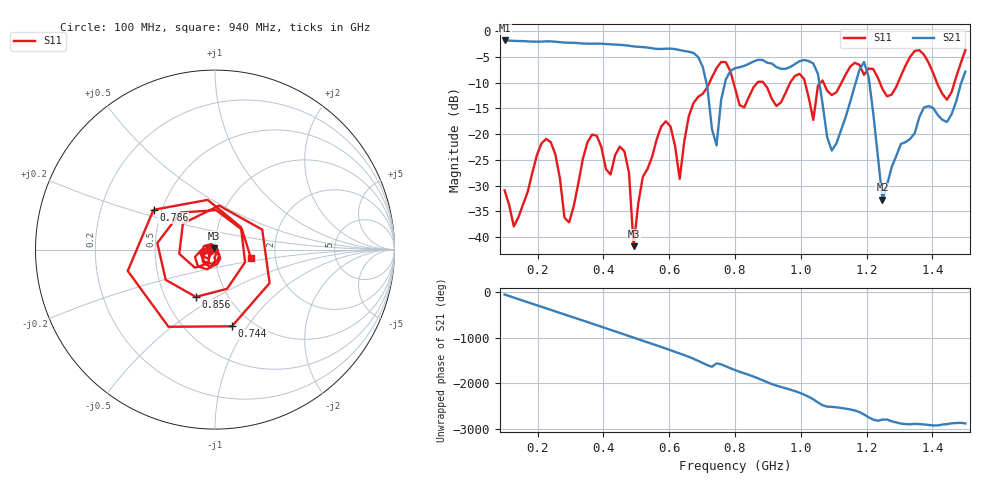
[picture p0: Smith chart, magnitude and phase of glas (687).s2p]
! NanoVNA-App
! Date: 2025-09-25 16:00:49
! Start: 100MHz Stop: 1,5GHz Points: 101
! S-Parameter data: F S11 S21 S12 S22
# Hz S RI R 50
!  Frequency  S11_Real  S11_Imag  S21_Real  S21_Imag  S12_Real  S12_Imag  S22_Real  S22_Imag
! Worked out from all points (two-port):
!   101 points, 100 MHz to 1.5 GHz, reference 50 ohm
!   highest |S21| = -1.80 dB at 100 MHz (marker M1); lowest = -32.7 dB at 1.248 GHz (marker M2)
!   |S21| within 3 dB of the highest: start of sweep to 684.3 MHz
!   lowest |S11| = -41.8 dB at 492 MHz (marker M3), VSWR 1.02, Z = 49.5 + j0.623 ohm
!   |S11| at or under -10 dB: start of sweep to 722.4 MHz; 795.5 MHz to 867.9 MHz (72.38 MHz wide, 8.7 % of centre); 886.3 MHz to 967.7 MHz (81.39 MHz wide, 8.78 % of centre) (the widest 3 of 7)
!   S12 and S22 are empty: the file has one direction only
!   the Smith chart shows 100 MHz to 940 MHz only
!   S11 on the Smith chart (normalised r, x): 100 MHz: 0.95, -0.01; 744 MHz: 0.81, -0.85; 786 MHz: 0.45, +0.24; 856 MHz: 0.71, -0.41; 940 MHz: 1.49, -0.14
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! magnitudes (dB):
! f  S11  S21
! 100 MHz  -30.9  -1.8
! 128 MHz  -37.9  -1.9
! 226 MHz  -20.9  -2.0
! 296 MHz  -37.1  -2.2
! 338 MHz  -24.7  -2.4
! 464 MHz  -23.3  -2.7
! 492 MHz  -41.8  -3.0
! 576 MHz  -18.5  -3.5
! 632 MHz  -28.7  -3.7
! 702 MHz  -12.2  -6.9
! 744 MHz  -7.2  -22.2
! 786 MHz  -7.8  -7.7
! 800 MHz  -11.1  -7.2
! 856 MHz  -10.9  -5.9
! 940 MHz  -13.8  -7.3
! 1.038 GHz  -17.2  -6.3
! 1.094 GHz  -12.4  -23.2
! 1.192 GHz  -8.5  -6.0
! 1.248 GHz  -11.2  -32.7
! 1.276 GHz  -12.3  -26.4
! 1.444 GHz  -13.3  -17.6
! 1.5 GHz  -3.7  -7.8
